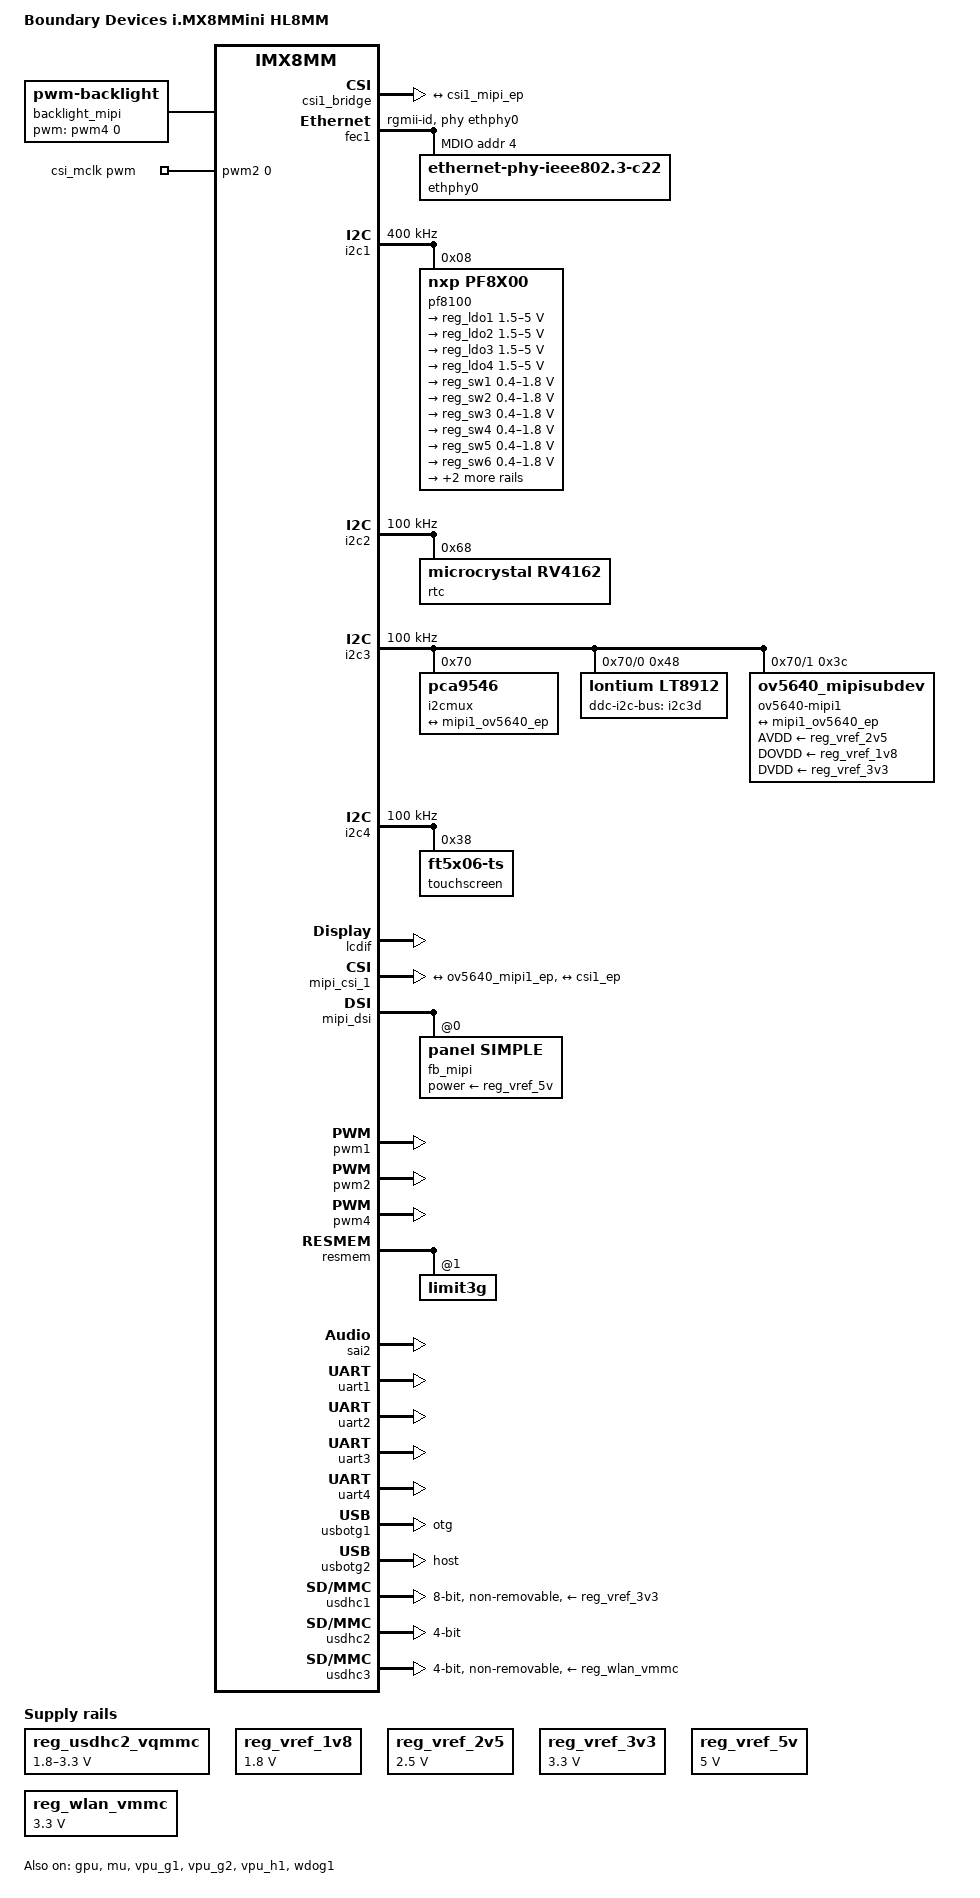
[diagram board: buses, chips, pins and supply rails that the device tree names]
// SPDX-License-Identifier: (GPL-2.0+ OR MIT)
/*
 * Copyright 2018 Boundary Devices
 */

/dts-v1/;

#include "fsl-imx8mm.dtsi"

&iomuxc {
	pinctrl-names = "default";
	pinctrl-0 = <&pinctrl_hog>;

	pinctrl_bt_rfkill: bt-rfkillgrp {
		fsl,pins = <
#define GP_BT_RFKILL_RESET	<&gpio3 14 GPIO_ACTIVE_LOW>
			MX8MM_IOMUXC_NAND_DQS_GPIO3_IO14		0x119
		>;
	};

	pinctrl_fec1: fec1grp {
		fsl,pins = <
			/* PAD_CTL_ODE is screwy on 8mm mini, avoid it */
#define GP_MII_MDC	<&gpio1 16 GPIO_ACTIVE_HIGH>
			MX8MM_IOMUXC_ENET_MDC_GPIO1_IO16		0x00
#define GP_MII_MDIO	<&gpio1 17 GPIO_ACTIVE_HIGH>
			MX8MM_IOMUXC_ENET_MDIO_GPIO1_IO17		0x00
			MX8MM_IOMUXC_ENET_RD0_ENET1_RGMII_RD0		0x91
			MX8MM_IOMUXC_ENET_RD1_ENET1_RGMII_RD1		0x91
			MX8MM_IOMUXC_ENET_RD2_ENET1_RGMII_RD2		0x91
			MX8MM_IOMUXC_ENET_RD3_ENET1_RGMII_RD3		0x91
			MX8MM_IOMUXC_ENET_RXC_ENET1_RGMII_RXC		0x91
			MX8MM_IOMUXC_ENET_RX_CTL_ENET1_RGMII_RX_CTL	0x91
			MX8MM_IOMUXC_ENET_TD0_ENET1_RGMII_TD0		0x1f
			MX8MM_IOMUXC_ENET_TD1_ENET1_RGMII_TD1		0x1f
			MX8MM_IOMUXC_ENET_TD2_ENET1_RGMII_TD2		0x1f
			MX8MM_IOMUXC_ENET_TD3_ENET1_RGMII_TD3		0x1f
			MX8MM_IOMUXC_ENET_TXC_ENET1_RGMII_TXC		0x1f
			MX8MM_IOMUXC_ENET_TX_CTL_ENET1_RGMII_TX_CTL	0x1f
#define GP_FEC1_RESET	<&gpio3 15 GPIO_ACTIVE_LOW>
			MX8MM_IOMUXC_NAND_RE_B_GPIO3_IO15		0x159
#define GPIRQ_FEC1_PHY	<&gpio3 16 IRQ_TYPE_LEVEL_LOW>
			MX8MM_IOMUXC_NAND_READY_B_GPIO3_IO16		0x159
		>;
	};

	pinctrl_hog: hoggrp {
		fsl,pins = <
			MX8MM_IOMUXC_SAI5_RXD3_GPIO3_IO24	    	0x1c0	/* rtc_reset_b of processor */
			/* Silex */
			MX8MM_IOMUXC_SD1_STROBE_GPIO2_IO11		0x100	/* J12, pin 2 */
			MX8MM_IOMUXC_SAI2_RXFS_GPIO4_IO21		0x100	/* J12, pin 4 */
			MX8MM_IOMUXC_SAI5_RXD0_GPIO3_IO21		0x100	/* J12, pin 41: clkreq */
			MX8MM_IOMUXC_SAI2_MCLK_GPIO4_IO27		0x1c0	/* J12, pin 42: BT_WAKE_DEV */

			MX8MM_IOMUXC_GPIO1_IO05_GPIO1_IO5		0x1c0	/* J33, pin 1 */
			MX8MM_IOMUXC_GPIO1_IO01_GPIO1_IO1		0x1c0	/* J33, pin 2 */
			MX8MM_IOMUXC_GPIO1_IO04_GPIO1_IO4		0x1c0	/* J33, pin 3 */
			MX8MM_IOMUXC_GPIO1_IO06_GPIO1_IO6		0x1c0	/* J33, pin 4 */
			MX8MM_IOMUXC_GPIO1_IO10_GPIO1_IO10		0x1c0	/* J33, pin 5 */
			MX8MM_IOMUXC_GPIO1_IO15_GPIO1_IO15		0x1c0	/* J33, pin 6 */
			MX8MM_IOMUXC_GPIO1_IO11_GPIO1_IO11		0x100	/* J35, pin 1: On/Off connector */

			MX8MM_IOMUXC_GPIO1_IO08_GPIO1_IO8		0x1c0	/* J6, pin 19: LVDS backlight en */
			
			/* test points */
			MX8MM_IOMUXC_SD2_WP_GPIO2_IO20			0x1c0	/* tp2 */
			MX8MM_IOMUXC_SD2_RESET_B_GPIO2_IO19		0x1c0	/* tp7 */
			MX8MM_IOMUXC_ECSPI2_SCLK_GPIO5_IO10		0x1c0	/* tp29 */
			MX8MM_IOMUXC_ECSPI2_MOSI_GPIO5_IO11		0x1c0	/* tp30 */
			MX8MM_IOMUXC_GPIO1_IO14_GPIO1_IO14		0x1c0	/* tp33 */
		>;
	};

	pinctrl_i2c1: i2c1grp {
		fsl,pins = <
			MX8MM_IOMUXC_I2C1_SCL_I2C1_SCL			0x400001c3
			MX8MM_IOMUXC_I2C1_SDA_I2C1_SDA			0x400001c3
		>;
	};

	pinctrl_i2c1_1: i2c1_1grp {
		fsl,pins = <
#define GP_I2C1_SCL	<&gpio5 14 GPIO_ACTIVE_HIGH>
			MX8MM_IOMUXC_I2C1_SCL_GPIO5_IO14		0x400001c3
#define GP_I2C1_SDA	<&gpio5 15 GPIO_ACTIVE_HIGH>
			MX8MM_IOMUXC_I2C1_SDA_GPIO5_IO15		0x400001c3
		>;
	};

	pinctrl_i2c1_pf8100: i2c1-pf8100grp {
		fsl,pins = <
#define GP_I2C1_PF8100_EWARN	<&gpio3 3 GPIO_ACTIVE_LOW>
			MX8MM_IOMUXC_NAND_CE2_B_GPIO3_IO3		0x149
#define GP_I2C1_PF8100_FAULT	<&gpio3 4 GPIO_ACTIVE_LOW>
			MX8MM_IOMUXC_NAND_CE3_B_GPIO3_IO4		0x149
		>;
	};

	pinctrl_i2c2: i2c2grp {
		fsl,pins = <
			MX8MM_IOMUXC_I2C2_SCL_I2C2_SCL			0x400001c3
			MX8MM_IOMUXC_I2C2_SDA_I2C2_SDA			0x400001c3
		>;
	};

	pinctrl_i2c2_1: i2c2_1grp {
		fsl,pins = <
#define GP_I2C2_SCL	<&gpio5 16 GPIO_ACTIVE_HIGH>
			MX8MM_IOMUXC_I2C2_SCL_GPIO5_IO16		0x400001c3
#define GP_I2C2_SDA	<&gpio5 17 GPIO_ACTIVE_HIGH>
			MX8MM_IOMUXC_I2C2_SDA_GPIO5_IO17		0x400001c3
		>;
	};

	pinctrl_i2c2_rv4162: i2c2-rv4162grp {
		fsl,pins = <
#define GPIRQ_RV4162		<&gpio1 3 IRQ_TYPE_LEVEL_LOW>
			MX8MM_IOMUXC_GPIO1_IO03_GPIO1_IO3		0x1c0
		>;
	};

	pinctrl_i2c3: i2c3grp {
		fsl,pins = <
			MX8MM_IOMUXC_I2C3_SCL_I2C3_SCL			0x400001c3
			MX8MM_IOMUXC_I2C3_SDA_I2C3_SDA			0x400001c3
		>;
	};

	pinctrl_i2c3_1: i2c3_1grp {
		fsl,pins = <
#define GP_I2C3_SCL	<&gpio5 18 GPIO_ACTIVE_HIGH>
			MX8MM_IOMUXC_I2C3_SCL_GPIO5_IO18		0x400001c3
#define GP_I2C3_SDA	<&gpio5 19 GPIO_ACTIVE_HIGH>
			MX8MM_IOMUXC_I2C3_SDA_GPIO5_IO19		0x400001c3
		>;
	};

	pinctrl_i2c3_pca9546: i2c3-pca9546grp {
		fsl,pins = <
#define GP_I2C3_PCA9546_RESET	<&gpio5 18 GPIO_ACTIVE_HIGH>
			MX8MM_IOMUXC_ECSPI2_MISO_GPIO5_IO12		0x1c0
			>;
		};

	pinctrl_i2c3a_lt8912: i2c3a-lt8912grp {
		fsl,pins = <
#define GPIRQ_LT8912		<&gpio3 19 IRQ_TYPE_LEVEL_LOW>
			MX8MM_IOMUXC_SAI5_RXFS_GPIO3_IO19		0x1c0
#define GP_LT8912_RESET		<&gpio3 22 GPIO_ACTIVE_LOW>
			MX8MM_IOMUXC_SAI5_RXD1_GPIO3_IO22	    	0x1c0
		>;
	};

	pinctrl_i2c3b_ov5640_mipi: i2c3b-ov5640-mipigrp {
		fsl,pins = <
#define GP_OV5640_MIPI_POWER_DOWN <&gpio3 9 GPIO_ACTIVE_HIGH>
			MX8MM_IOMUXC_NAND_DATA03_GPIO3_IO9		0x141
#define GP_OV5640_MIPI_RESET	<&gpio3 5 GPIO_ACTIVE_LOW>
			MX8MM_IOMUXC_NAND_CLE_GPIO3_IO5			0x101
		>;
	};

	pinctrl_i2c4: i2c4grp {
		fsl,pins = <
			MX8MM_IOMUXC_I2C4_SCL_I2C4_SCL			0x400001c3
			MX8MM_IOMUXC_I2C4_SDA_I2C4_SDA			0x400001c3
		>;
	};

	pinctrl_i2c4_1: i2c4_1grp {
		fsl,pins = <
#define GP_I2C4_SCL	<&gpio5 20 GPIO_ACTIVE_HIGH>
			MX8MM_IOMUXC_I2C4_SCL_GPIO5_IO20		0x400001c3
#define GP_I2C4_SDA	<&gpio5 21 GPIO_ACTIVE_HIGH>
			MX8MM_IOMUXC_I2C4_SDA_GPIO5_IO21		0x400001c3
		>;
	};

	pinctrl_i2c4_ft5x06: i2c4-ft5x06grp {
		fsl,pins = <
#define GPIRQ_I2C4_FT5X06	<&gpio1 9 IRQ_TYPE_EDGE_FALLING>
#define GP_I2C4_FT5X06_WAKE	<&gpio1 9 GPIO_ACTIVE_LOW>
			MX8MM_IOMUXC_GPIO1_IO09_GPIO1_IO9		0x149	/* J8, pin 4: touch int */
		>;
	};

	pinctrl_pwm1: pwm1grp {
		fsl,pins = <
			MX8MM_IOMUXC_SPDIF_EXT_CLK_PWM1_OUT		0x16	/* J8 Pin 3, NS */
		>;
	};

	pinctrl_pwm2: pwm2grp {
		fsl,pins = <
			MX8MM_IOMUXC_SPDIF_RX_PWM2_OUT			0x16	/* camera xclk */
		>;
	};

	pinctrl_pwm4: pwm4grp {
		fsl,pins = <
			MX8MM_IOMUXC_SAI3_MCLK_PWM4_OUT			0x16
		>;
	};

	pinctrl_reg_usdhc2_vqmmc: reg_usdhc2_vqmmcgrp {
		fsl,pins = <
#define GP_USDHC2_VSEL	<&gpio3 2 GPIO_ACTIVE_HIGH>
			MX8MM_IOMUXC_NAND_CE1_B_GPIO3_IO2		0x16
		>;
	};

	pinctrl_reg_wlan_vmmc: reg-wlan-vmmcgrp {
		fsl,pins = <
#define GP_REG_WLAN_VMMC	<&gpio3 20 GPIO_ACTIVE_HIGH>
			MX8MM_IOMUXC_SAI5_RXC_GPIO3_IO20		0x16
		>;
	};

	pinctrl_sai2: sai2grp {
		fsl,pins = <
			/* Bluetooth PCM */
			MX8MM_IOMUXC_SAI2_TXFS_SAI2_TX_SYNC		0xd6
			MX8MM_IOMUXC_SAI2_TXC_SAI2_TX_BCLK		0xd6
			MX8MM_IOMUXC_SAI2_TXD0_SAI2_TX_DATA0		0xd6
			MX8MM_IOMUXC_SAI2_RXD0_SAI2_RX_DATA0		0xd6
		>;
	};

	pinctrl_uart1: uart1grp {
		fsl,pins = <
			MX8MM_IOMUXC_UART1_RXD_UART1_DCE_RX		0x140
			MX8MM_IOMUXC_UART1_TXD_UART1_DCE_TX		0x140
			MX8MM_IOMUXC_UART3_RXD_UART1_DCE_CTS_B		0x140
			MX8MM_IOMUXC_UART3_TXD_UART1_DCE_RTS_B		0x140
		>;
	};

	pinctrl_uart2: uart2grp {
		fsl,pins = <
			MX8MM_IOMUXC_UART2_RXD_UART2_DCE_RX		0x140
			MX8MM_IOMUXC_UART2_TXD_UART2_DCE_TX		0x140
		>;
	};

	pinctrl_uart3: uart3grp {
		fsl,pins = <
			MX8MM_IOMUXC_ECSPI1_SCLK_UART3_DCE_RX		0x140
			MX8MM_IOMUXC_ECSPI1_MOSI_UART3_DCE_TX		0x140
		>;
	};

	pinctrl_uart4: uart4grp {
		fsl,pins = <
			MX8MM_IOMUXC_UART4_RXD_UART4_DCE_RX		0x140
			MX8MM_IOMUXC_UART4_TXD_UART4_DCE_TX		0x140
		>;
	};

	pinctrl_usbotg1: usbotg1grp {
		fsl,pins = <
			MX8MM_IOMUXC_GPIO1_IO12_USB1_OTG_PWR		0x16
			MX8MM_IOMUXC_GPIO1_IO13_USB1_OTG_OC		0x16
		>;
	};

	pinctrl_usbotg2: usbotg2grp {
		fsl,pins = <
#define GP_OTG2_HUB_RESET		<&gpio1 7 GPIO_ACTIVE_LOW>
			MX8MM_IOMUXC_GPIO1_IO07_GPIO1_IO7		0x180
		>;
	};

	pinctrl_usdhc1: usdhc1grp {
		fsl,pins = <
			MX8MM_IOMUXC_SD1_CLK_USDHC1_CLK			0x190
			MX8MM_IOMUXC_SD1_CMD_USDHC1_CMD			0x1d0
			MX8MM_IOMUXC_SD1_DATA0_USDHC1_DATA0		0x1d0
			MX8MM_IOMUXC_SD1_DATA1_USDHC1_DATA1		0x1d0
			MX8MM_IOMUXC_SD1_DATA2_USDHC1_DATA2		0x1d0
			MX8MM_IOMUXC_SD1_DATA3_USDHC1_DATA3		0x1d0
			MX8MM_IOMUXC_SD1_DATA4_USDHC1_DATA4		0x1d0
			MX8MM_IOMUXC_SD1_DATA5_USDHC1_DATA5		0x1d0
			MX8MM_IOMUXC_SD1_DATA6_USDHC1_DATA6		0x1d0
			MX8MM_IOMUXC_SD1_DATA7_USDHC1_DATA7		0x1d0
#define GP_EMMC_RESET		<&gpio2 10 GPIO_ACTIVE_LOW>
			MX8MM_IOMUXC_SD1_RESET_B_GPIO2_IO10		0x141
		>;
	};

	pinctrl_usdhc1_100mhz: usdhc1grp100mhz {
		fsl,pins = <
			MX8MM_IOMUXC_SD1_CLK_USDHC1_CLK			0x194
			MX8MM_IOMUXC_SD1_CMD_USDHC1_CMD			0x1d4
			MX8MM_IOMUXC_SD1_DATA0_USDHC1_DATA0		0x1d4
			MX8MM_IOMUXC_SD1_DATA1_USDHC1_DATA1		0x1d4
			MX8MM_IOMUXC_SD1_DATA2_USDHC1_DATA2		0x1d4
			MX8MM_IOMUXC_SD1_DATA3_USDHC1_DATA3		0x1d4
			MX8MM_IOMUXC_SD1_DATA4_USDHC1_DATA4		0x1d4
			MX8MM_IOMUXC_SD1_DATA5_USDHC1_DATA5		0x1d4
			MX8MM_IOMUXC_SD1_DATA6_USDHC1_DATA6		0x1d4
			MX8MM_IOMUXC_SD1_DATA7_USDHC1_DATA7		0x1d4
		>;
	};

	pinctrl_usdhc1_200mhz: usdhc1grp200mhz {
		fsl,pins = <
			MX8MM_IOMUXC_SD1_CLK_USDHC1_CLK			0x196
			MX8MM_IOMUXC_SD1_CMD_USDHC1_CMD			0x1d6
			MX8MM_IOMUXC_SD1_DATA0_USDHC1_DATA0		0x1d6
			MX8MM_IOMUXC_SD1_DATA1_USDHC1_DATA1		0x1d6
			MX8MM_IOMUXC_SD1_DATA2_USDHC1_DATA2		0x1d6
			MX8MM_IOMUXC_SD1_DATA3_USDHC1_DATA3		0x1d6
			MX8MM_IOMUXC_SD1_DATA4_USDHC1_DATA4		0x1d6
			MX8MM_IOMUXC_SD1_DATA5_USDHC1_DATA5		0x1d6
			MX8MM_IOMUXC_SD1_DATA6_USDHC1_DATA6		0x1d6
			MX8MM_IOMUXC_SD1_DATA7_USDHC1_DATA7		0x1d6
		>;
	};

	pinctrl_usdhc2: usdhc2grp {
		fsl,pins = <
			MX8MM_IOMUXC_SD2_CLK_USDHC2_CLK			0x190
			MX8MM_IOMUXC_SD2_CMD_USDHC2_CMD			0x1d0
			MX8MM_IOMUXC_SD2_DATA0_USDHC2_DATA0		0x1d0
			MX8MM_IOMUXC_SD2_DATA1_USDHC2_DATA1		0x1d0
			MX8MM_IOMUXC_SD2_DATA2_USDHC2_DATA2		0x1d0
			MX8MM_IOMUXC_SD2_DATA3_USDHC2_DATA3		0x1d0
#define GP_USDHC2_CD	<&gpio2 12 GPIO_ACTIVE_LOW>
			MX8MM_IOMUXC_SD2_CD_B_GPIO2_IO12		0x1c4
		>;
	};

	pinctrl_usdhc2_100mhz: usdhc2grp100mhz {
		fsl,pins = <
			MX8MM_IOMUXC_SD2_CLK_USDHC2_CLK			0x194
			MX8MM_IOMUXC_SD2_CMD_USDHC2_CMD			0x1d4
			MX8MM_IOMUXC_SD2_DATA0_USDHC2_DATA0		0x1d4
			MX8MM_IOMUXC_SD2_DATA1_USDHC2_DATA1		0x1d4
			MX8MM_IOMUXC_SD2_DATA2_USDHC2_DATA2		0x1d4
			MX8MM_IOMUXC_SD2_DATA3_USDHC2_DATA3		0x1d4
		>;
	};

	pinctrl_usdhc2_200mhz: usdhc2grp200mhz {
		fsl,pins = <
			MX8MM_IOMUXC_SD2_CLK_USDHC2_CLK			0x196
			MX8MM_IOMUXC_SD2_CMD_USDHC2_CMD			0x1d6
			MX8MM_IOMUXC_SD2_DATA0_USDHC2_DATA0		0x1d6
			MX8MM_IOMUXC_SD2_DATA1_USDHC2_DATA1		0x1d6
			MX8MM_IOMUXC_SD2_DATA2_USDHC2_DATA2		0x1d6
			MX8MM_IOMUXC_SD2_DATA3_USDHC2_DATA3		0x1d6
		>;
	};

	pinctrl_usdhc3: usdhc3grp {
		fsl,pins = <
			MX8MM_IOMUXC_NAND_WE_B_USDHC3_CLK		0x190
			MX8MM_IOMUXC_NAND_WP_B_USDHC3_CMD		0x1d0
			MX8MM_IOMUXC_NAND_DATA04_USDHC3_DATA0		0x1d0
			MX8MM_IOMUXC_NAND_DATA05_USDHC3_DATA1		0x1d0
			MX8MM_IOMUXC_NAND_DATA06_USDHC3_DATA2		0x1d0
			MX8MM_IOMUXC_NAND_DATA07_USDHC3_DATA3		0x1d0
			/* Bluetooth slow clock */
			MX8MM_IOMUXC_GPIO1_IO00_ANAMIX_REF_CLK_32K	0x03
		>;
	};

	pinctrl_usdhc3_100mhz: usdhc3grp100mhz {
		fsl,pins = <
			MX8MM_IOMUXC_NAND_WE_B_USDHC3_CLK		0x194
			MX8MM_IOMUXC_NAND_WP_B_USDHC3_CMD		0x1d4
			MX8MM_IOMUXC_NAND_DATA04_USDHC3_DATA0		0x1d4
			MX8MM_IOMUXC_NAND_DATA05_USDHC3_DATA1		0x1d4
			MX8MM_IOMUXC_NAND_DATA06_USDHC3_DATA2		0x1d4
			MX8MM_IOMUXC_NAND_DATA07_USDHC3_DATA3		0x1d4
		>;
	};

	pinctrl_usdhc3_200mhz: usdhc3grp200mhz {
		fsl,pins = <
			MX8MM_IOMUXC_NAND_WE_B_USDHC3_CLK		0x196
			MX8MM_IOMUXC_NAND_WP_B_USDHC3_CMD		0x1d6
			MX8MM_IOMUXC_NAND_DATA04_USDHC3_DATA0		0x1d6
			MX8MM_IOMUXC_NAND_DATA05_USDHC3_DATA1		0x1d6
			MX8MM_IOMUXC_NAND_DATA06_USDHC3_DATA2		0x1d6
			MX8MM_IOMUXC_NAND_DATA07_USDHC3_DATA3		0x1d6
		>;
	};

	pinctrl_wdog: wdoggrp {
		fsl,pins = <
			MX8MM_IOMUXC_GPIO1_IO02_WDOG1_WDOG_B		0x140
		>;
	};
};

/ {
	model = "Boundary Devices i.MX8MMini HL8MM";
	compatible = "boundary,imx8mm-hl8mm", "fsl,imx8mm";

	aliases {
		a53 = &A53_0;
		backlight_mipi = &backlight_mipi;
		fb_mipi = &fb_mipi;
		lcdif = &lcdif;
		mipi = &fb_mipi;
		mipi_dsi = &mipi_dsi;
		pwm_mipi = &pwm4;
		reg_sw4 = &reg_sw4;
		t_mipi = &t_mipi;
	};

	alias_create_phandles {
		p11 = <&reg_sw4>;
	};

	backlight_mipi: backlight-mipi {
		brightness-levels = <0 1 2 3 4 5 6 7 8 9 10>;
		compatible = "pwm-backlight";
		default-brightness-level = <8>;
		display = <&display_subsystem>;
		pwms = <&pwm4 0 30000>;		/* 33.3 Khz */
		status = "okay";
	};

	bt-rfkill {
		compatible = "net,rfkill-gpio";
		pinctrl-names = "default";
		pinctrl-0 = <&pinctrl_bt_rfkill>;
		name = "bt-rfkill";
		type = <2>; /* Bluetooth */
		reset-gpios = GP_BT_RFKILL_RESET;
		status = "okay";
	};

	csi_mclk: csi-mclk {
		compatible = "pwm-clock";
		#clock-cells = <0>;
		clock-frequency = <20000000>;
		clock-output-names = "csi_mclk";
		pwms = <&pwm2 0 50>; /* 1 / 50 ns = 20 MHz */
	};

	reg_usdhc2_vqmmc: regulator-usdhc2-vqmmc {
		compatible = "regulator-gpio";
		pinctrl-names = "default";
		pinctrl-0 = <&pinctrl_reg_usdhc2_vqmmc>;
		regulator-name = "reg_sd2_vsel";
		regulator-min-microvolt = <1800000>;
		regulator-max-microvolt = <3300000>;
		regulator-type = "voltage";
		regulator-boot-on;
		regulator-always-on;
		gpios = GP_USDHC2_VSEL;
		states = <1800000 0x1
			  3300000 0x0>;
	};

	reg_vref_1v8: regulator-vref-1v8 {
		compatible = "regulator-fixed";
		regulator-name = "vref-1v8";
		regulator-min-microvolt = <1800000>;
		regulator-max-microvolt = <1800000>;
	};

	reg_vref_2v5: regulator-vref-2v5 {
		compatible = "regulator-fixed";
		regulator-name = "vref-2v5";
		regulator-min-microvolt = <2500000>;
		regulator-max-microvolt = <2500000>;
	};

	reg_vref_3v3: regulator-vref-3v3 {
		compatible = "regulator-fixed";
		regulator-name = "vref-3v3";
		regulator-min-microvolt = <3300000>;
		regulator-max-microvolt = <3300000>;
	};

	reg_vref_5v: regulator-vref-5v {
		compatible = "regulator-fixed";
		regulator-name = "vref-5v";
		regulator-min-microvolt = <5000000>;
		regulator-max-microvolt = <5000000>;
	};

	reg_wlan_vmmc: regulator-wlan-vmmc {
		compatible = "regulator-fixed";
		pinctrl-names = "default";
		pinctrl-0 = <&pinctrl_reg_wlan_vmmc>;
		regulator-name = "reg_wlan_vmmc";
		regulator-min-microvolt = <3300000>;
		regulator-max-microvolt = <3300000>;
		gpio = GP_REG_WLAN_VMMC;
		startup-delay-us = <70000>;
		enable-active-high;
	};
};

&A53_0 {
	arm-supply = <&reg_sw4>;
};

&clk {
	assigned-clocks = <&clk IMX8MM_AUDIO_PLL1>, <&clk IMX8MM_AUDIO_PLL2>;
	assigned-clock-rates = <786432000>, <722534400>;
};

&csi1_bridge {
	fsl,mipi-mode;
	status = "okay";

	port {
		csi1_ep: endpoint {
			remote-endpoint = <&csi1_mipi_ep>;
		};
	};
};

&fec1 {
	mdc-gpios = GP_MII_MDC;
	mdio-gpios = GP_MII_MDIO;
	pinctrl-names = "default";
	pinctrl-0 = <&pinctrl_fec1>;
#if 0
	phy-reset-gpios = GP_FEC1_RESET;
#endif
	phy-mode = "rgmii-id";
	phy-handle = <&ethphy0>;
	fsl,magic-packet;
	status = "okay";

	mdio {
		#address-cells = <1>;
		#size-cells = <0>;

		ethphy0: ethernet-phy@4 {
			compatible = "ethernet-phy-ieee802.3-c22";
			reg = <4>;
			interrupts-extended = GPIRQ_FEC1_PHY;
		};
	};
};

&gpu {
	status = "okay";
};

&i2c1 {
	clock-frequency = <400000>;
	pinctrl-names = "default", "gpio";
	pinctrl-0 = <&pinctrl_i2c1>;
	pinctrl-1 = <&pinctrl_i2c1_1>;
	scl-gpios = GP_I2C1_SCL;
	sda-gpios = GP_I2C1_SDA;
	status = "okay";

	pf8100@08 {
		compatible = "nxp,pf8x00";
		pinctrl-names = "default";
		pinctrl-0 = <&pinctrl_i2c1_pf8100>;
		reg = <0x08>;

		regulators {
			reg_ldo1: ldo1 {
				regulator-always-on;
				regulator-boot-on;
				regulator-max-microvolt = <5000000>;
				regulator-min-microvolt = <1500000>;
			};

			reg_ldo2: ldo2 {
				regulator-always-on;
				regulator-boot-on;
				regulator-max-microvolt = <5000000>;
				regulator-min-microvolt = <1500000>;
#if 0
				/* vselect low is 3.3V, high is 1.8V */
				vselect-en;
#endif
			};

			reg_ldo3: ldo3 {
				regulator-always-on;
				regulator-boot-on;
				regulator-max-microvolt = <5000000>;
				regulator-min-microvolt = <1500000>;
			};

			reg_ldo4: ldo4 {
				regulator-always-on;
				regulator-boot-on;
				regulator-max-microvolt = <5000000>;
				regulator-min-microvolt = <1500000>;
			};

			reg_sw1: sw1 {
				phase = <0>;
				ilim-ma = <4500>;
				regulator-always-on;
				regulator-boot-on;
				regulator-max-microvolt = <1800000>;
				regulator-min-microvolt =  <400000>;
			};

			reg_sw2: sw2 {
				regulator-always-on;
				regulator-boot-on;
				regulator-max-microvolt = <1800000>;
				regulator-min-microvolt =  <400000>;
			};

			reg_sw3: sw3 {
				regulator-always-on;
				regulator-boot-on;
				regulator-max-microvolt = <1800000>;
				regulator-min-microvolt =  <400000>;
			};

			reg_sw4: sw4 {
				regulator-always-on;
				regulator-boot-on;
				regulator-max-microvolt = <1800000>;
				regulator-min-microvolt =  <400000>;
			};

			reg_sw5: sw5 {
				regulator-always-on;
				regulator-boot-on;
				regulator-max-microvolt = <1800000>;
				regulator-min-microvolt =  <400000>;
			};

			reg_sw6: sw6 {
				regulator-always-on;
				regulator-boot-on;
				regulator-max-microvolt = <1800000>;
				regulator-min-microvolt =  <400000>;
			};

			reg_sw7: sw7 {
				regulator-always-on;
				regulator-boot-on;
				regulator-max-microvolt = <4100000>;
				regulator-min-microvolt = <1000000>;
			};

			reg_vsnvs: vsnvs {
				regulator-always-on;
				regulator-boot-on;
				regulator-max-microvolt = <3300000>;
				regulator-min-microvolt = <1800000>;
			};
		};
	};
};

&i2c2 {
	clock-frequency = <100000>;
	pinctrl-names = "default", "gpio";
	pinctrl-0 = <&pinctrl_i2c2>;
	pinctrl-1 = <&pinctrl_i2c2_1>;
	scl-gpios = GP_I2C2_SCL;
	sda-gpios = GP_I2C2_SDA;
	status = "okay";

	rtc@68 {
		compatible = "microcrystal,rv4162";
		pinctrl-names = "default";
		pinctrl-0 = <&pinctrl_i2c2_rv4162>;
		reg = <0x68>;
		interrupts-extended = GPIRQ_RV4162;
		wakeup-source;
	};
};

&i2c3 {
	clock-frequency = <100000>;
	pinctrl-names = "default", "gpio";
	pinctrl-0 = <&pinctrl_i2c3>;
	pinctrl-1 = <&pinctrl_i2c3_1>;
	scl-gpios = GP_I2C3_SCL;
	sda-gpios = GP_I2C3_SDA;
	status = "okay";

	i2cmux@70 {
		compatible = "pca9546";
		pinctrl-names = "default";
		pinctrl-0 = <&pinctrl_i2c3_pca9546>;
		reg = <0x70>;
		reset-gpios = GP_I2C3_PCA9546_RESET;
		#address-cells = <1>;
		#size-cells = <0>;

		i2c3a: i2c3@0 {
			reg = <0>;
			#address-cells = <1>;
			#size-cells = <0>;
		};

		i2c3b: i2c3@1 {
			reg = <1>;
			#address-cells = <1>;
			#size-cells = <0>;
		};

		i2c3c: i2c3@2 {
			reg = <2>;
			#address-cells = <1>;
			#size-cells = <0>;
		};

		i2c3d: i2c3@3 {
			reg = <3>;
			#address-cells = <1>;
			#size-cells = <0>;
			/* edid  @50 */
		};
	};
};

&i2c3a {
	lt8912@48 {
		compatible = "lontium,lt8912" ;
		ddc-i2c-bus = <&i2c3d>;
		display-dsi = <&fb_mipi>;
		interrupts-extended = GPIRQ_LT8912;
		reg = <0x48> ;
		reset-gpios = GP_LT8912_RESET;
	};
};

&i2c3b {
	ov5640-mipi1@3c {
		AVDD-supply = <&reg_vref_2v5>;
		DOVDD-supply = <&reg_vref_1v8>;
		DVDD-supply = <&reg_vref_3v3>;
		clocks = <&csi_mclk>;
		clock-names = "csi_mclk";
		compatible = "ov5640_mipisubdev";
		csi_id = <0>;
		mclk = <20000000>;
		mipi_csi;
		pinctrl-names = "default";
		pinctrl-0 = <&pinctrl_i2c3b_ov5640_mipi>;
		pwn-gpios = GP_OV5640_MIPI_POWER_DOWN;
		reg = <0x3c>;
		rst-gpios = GP_OV5640_MIPI_RESET;
		status = "okay";

		port {
			ov5640_mipi1_ep: endpoint {
				remote-endpoint = <&mipi1_ov5640_ep>;
			};
		};
	};
};

&i2c4 {
	clock-frequency = <100000>;
	pinctrl-names = "default", "gpio";
	pinctrl-0 = <&pinctrl_i2c4>;
	pinctrl-1 = <&pinctrl_i2c4_1>;
	scl-gpios = GP_I2C4_SCL;
	sda-gpios = GP_I2C4_SDA;
	status = "okay";

	touchscreen@38 {
		compatible = "ft5x06-ts";
		interrupts-extended = GPIRQ_I2C4_FT5X06;
		pinctrl-names = "default";
		pinctrl-0 = <&pinctrl_i2c4_ft5x06>;
		reg = <0x38>;
		wakeup-gpios = GP_I2C4_FT5X06_WAKE;
	};
};

&lcdif {
	status = "okay";
};

&mipi_csi_1 {
	#address-cells = <1>;
	#size-cells = <0>;
	status = "okay";
	port {
		mipi1_ov5640_ep: endpoint1 {
			remote-endpoint = <&ov5640_mipi1_ep>;
			data-lanes = <2>;
			csis-hs-settle = <13>;
			csis-clk-settle = <2>;
			csis-wclk;
		};

		csi1_mipi_ep: endpoint2 {
			remote-endpoint = <&csi1_ep>;
		};
	};
};

&mipi_dsi {
	assigned-clocks = <&clk IMX8MM_CLK_DSI_CORE>,
			  <&clk IMX8MM_CLK_DSI_PHY_REF>,
			  <&clk IMX8MM_VIDEO_PLL1_REF_SEL>,
			  <&clk IMX8MM_CLK_LCDIF_PIXEL>;
	assigned-clock-parents = <&clk IMX8MM_SYS_PLL1_266M>,
				 <&clk IMX8MM_VIDEO_PLL1_OUT>,
				 <&clk IMX8MM_CLK_24M>;
	assigned-clock-rates = <266000000>, <0>, <0>, <66000000>;

	clocks = <&clk IMX8MM_CLK_DSI_CORE>,
		 <&clk IMX8MM_CLK_DSI_PHY_REF>,
		 <&clk IMX8MM_CLK_LCDIF_PIXEL>;
	clock-names = "cfg", "pll-ref", "pixel_clock";
	status = "okay";

	fb_mipi: panel@0 {
		bits-per-color = <8>;
		bridge-de-active = <0>;
		bus-format = "rgb888";
		compatible = "panel,simple";
		dsi-format = "rgb888";
		dsi-lanes = <4>;
		mode-skip-eot;
		mode-video;
#if 1
		mode-video-burst;
#else
		mode-video-sync-pulse;
#endif
		panel-height-mm = <136>;
		panel-width-mm = <217>;
		power-supply = <&reg_vref_5v>;
		reg = <0>;
		spwg;

		display-timings {
			t_mipi: t-dsi-default {
				/* m101nwwb by default */
				clock-frequency = <66000000>;
				hactive = <1280>;
				vactive = <800>;
				hback-porch = <5>;
				hfront-porch = <123>;
				vback-porch = <3>;
				vfront-porch = <24>;
				hsync-len = <1>;
				vsync-len = <1>;
				hsync-active = <0>;
				vsync-active = <0>;
				de-active = <1>;
			};
		};
	};
};

&mu {
	status = "okay";
};

&pwm1 {
	pinctrl-names = "default";
	pinctrl-0 = <&pinctrl_pwm1>;
	status = "okay";
};

&pwm2 {
	assigned-clocks = <&clk IMX8MM_CLK_PWM2>;
	assigned-clock-parents = <&clk IMX8MM_SYS_PLL1_40M>;
	assigned-clock-rates = <40000000>;
	pinctrl-names = "default";
	pinctrl-0 = <&pinctrl_pwm2>;
	status = "okay";
};

&pwm4 {
	pinctrl-names = "default";
	pinctrl-0 = <&pinctrl_pwm4>;
	status = "okay";
};

&resmem {
	limit3g@0x100000000 {
		no-map;
		reg = <1 0x00000000 0 0x40000000>;
	};
};

&sai2 {
	pinctrl-names = "default";
	pinctrl-0 = <&pinctrl_sai2>;
	status = "okay";
};

&uart1 { /* BT */
	pinctrl-names = "default";
	pinctrl-0 = <&pinctrl_uart1>;
	assigned-clocks = <&clk IMX8MM_CLK_UART1>;
	assigned-clock-parents = <&clk IMX8MM_SYS_PLL1_80M>;
	fsl,uart-has-rtscts;
	status = "okay";
};

&uart2 { /* console */
	pinctrl-names = "default";
	pinctrl-0 = <&pinctrl_uart2>;
	assigned-clocks = <&clk IMX8MM_CLK_UART2>;
	assigned-clock-parents = <&clk IMX8MM_CLK_24M>;
	status = "okay";
};

&uart3 { /* J15 */
	pinctrl-names = "default";
	pinctrl-0 = <&pinctrl_uart3>;
	assigned-clocks = <&clk IMX8MM_CLK_UART3>;
	assigned-clock-parents = <&clk IMX8MM_SYS_PLL1_80M>;
	status = "okay";
};

&uart4 {
	pinctrl-names = "default";
	pinctrl-0 = <&pinctrl_uart4>;
	assigned-clocks = <&clk IMX8MM_CLK_UART4>;
	assigned-clock-parents = <&clk IMX8MM_CLK_24M>;
	status = "okay";
};

&usbotg1 {
	pinctrl-names = "default";
	pinctrl-0 = <&pinctrl_usbotg1>;
	power-polarity-active-high;
	dr_mode = "otg";
	status = "okay";
};

&usbotg2 {
	disable-over-current;
	dr_mode = "host";
	pinctrl-names = "default";
	pinctrl-0 = <&pinctrl_usbotg2>;
	power-polarity-active-high;
	reset-gpios = GP_OTG2_HUB_RESET;
	status = "okay";
};

&usdhc1 {
	bus-width = <8>;
	no-mmc-hs400;
	non-removable;
	pinctrl-names = "default", "state_100mhz", "state_200mhz";
	pinctrl-0 = <&pinctrl_usdhc1>;
	pinctrl-1 = <&pinctrl_usdhc1_100mhz>;
	pinctrl-2 = <&pinctrl_usdhc1_200mhz>;
	status = "okay";
	vmmc-supply = <&reg_vref_3v3>;
	vqmmc-1-8-v;
	vqmmc-supply = <&reg_vref_1v8>;
};

&usdhc2 {
	bus-width = <4>;
	cd-gpios = GP_USDHC2_CD;
	pinctrl-names = "default", "state_100mhz", "state_200mhz";
	pinctrl-0 = <&pinctrl_usdhc2>;
	pinctrl-1 = <&pinctrl_usdhc2_100mhz>;
	pinctrl-2 = <&pinctrl_usdhc2_200mhz>;
	status = "okay";
#if 0
	vqmmc-supply = <&reg_usdhc2_vqmmc>;
#else
	vqmmc-supply = <&reg_ldo2>;
#endif
};

&usdhc3 {
	bus-width = <4>;
	no-sd-uhs-sdr104;
	non-removable;
	pinctrl-names = "default", "state_100mhz", "state_200mhz";
	pinctrl-0 = <&pinctrl_usdhc3>;
	pinctrl-1 = <&pinctrl_usdhc3_100mhz>;
	pinctrl-2 = <&pinctrl_usdhc3_200mhz>;
	status = "okay";
	vmmc-supply = <&reg_wlan_vmmc>;
	vqmmc-1-8-v;
};

&vpu_g1 {
	status = "okay";
};

&vpu_g2 {
	status = "okay";
};

&vpu_h1 {
	status = "okay";
};

&wdog1 {
	pinctrl-names = "default", "gpio";
	pinctrl-0 = <&pinctrl_wdog>;
	fsl,ext-reset-output;
	status = "okay";
};
